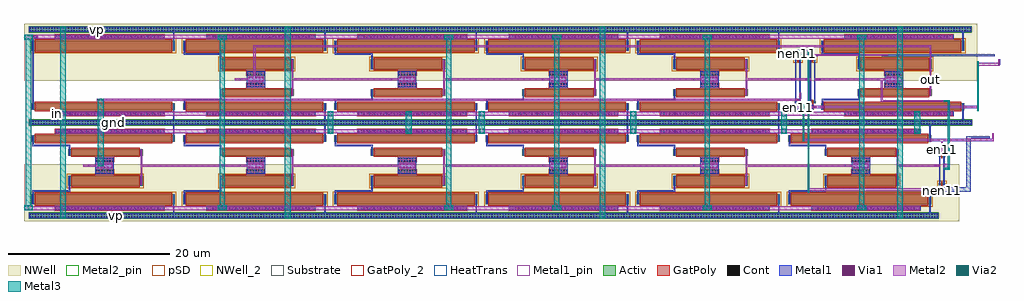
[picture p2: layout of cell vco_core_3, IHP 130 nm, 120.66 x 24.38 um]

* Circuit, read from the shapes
.subckt vco_core_3 en11 en5 gnd in nen11 nen5 out vp
XM1 gnd in n1 gnd sg13_lv_nmos w=0.8u l=17u
XM2 gnd in vco_delay_cell_3_0/pgt gnd sg13_lv_nmos w=0.8u l=17u
XM3 vco_delay_cell_3_4/in vco_delay_cell_3_5/in n1 gnd sg13_lv_nmos w=0.8u l=8.5u
XM4 gnd in n2 gnd sg13_lv_nmos w=0.8u l=17u
XM5 gnd in n3 gnd sg13_lv_nmos w=0.8u l=17u
XM6 vco_delay_cell_3_6/in vco_delay_cell_3_4/in n2 gnd sg13_lv_nmos w=0.8u l=8.5u
XM7 vco_delay_cell_3_1/in out n3 gnd sg13_lv_nmos w=0.8u l=8.5u
XM8 gnd in n4 gnd sg13_lv_nmos w=0.8u l=17u
XM9 gnd in n5 gnd sg13_lv_nmos w=0.8u l=17u
XM10 vco_delay_cell_3_7/in vco_delay_cell_3_6/in n4 gnd sg13_lv_nmos w=0.8u l=8.5u
XM11 vco_delay_cell_3_2/in vco_delay_cell_3_1/in n5 gnd sg13_lv_nmos w=0.8u l=8.5u
XM12 gnd in n6 gnd sg13_lv_nmos w=0.8u l=17u
XM13 gnd in n7 gnd sg13_lv_nmos w=0.8u l=17u
XM14 vco_delay_cell_3_8/in vco_delay_cell_3_7/in n6 gnd sg13_lv_nmos w=0.8u l=8.5u
XM15 vco_delay_cell_3_3/in vco_delay_cell_3_2/in n7 gnd sg13_lv_nmos w=0.8u l=8.5u
XM16 gnd in n8 gnd sg13_lv_nmos w=0.8u l=17u
XM17 gnd in n9 gnd sg13_lv_nmos w=0.8u l=17u
XM18 vco_delay_cell_3_9/in vco_delay_cell_3_8/in n8 gnd sg13_lv_nmos w=0.8u l=8.5u
XM19 vco_delay_cell_3_3/out vco_delay_cell_3_3/in n9 gnd sg13_lv_nmos w=0.8u l=8.5u
XM20 gnd in n10 gnd sg13_lv_nmos w=0.8u l=17u
XM21 vco_delay_cell_3_5/in en11 vco_delay_cell_3_3/out gnd sg13_lv_nmos w=0.3u l=0.15u
XM22 vco_delay_cell_3_40/in en5 vco_delay_cell_3_3/out gnd sg13_lv_nmos w=0.3u l=0.15u
XM23 gnd in n11 gnd sg13_lv_nmos w=0.8u l=17u
XM24 vco_delay_cell_3_9/out vco_delay_cell_3_9/in n10 gnd sg13_lv_nmos w=0.8u l=8.5u
XM25 out vco_delay_cell_3_40/in n11 gnd sg13_lv_nmos w=0.8u l=8.5u
XM26 vco_delay_cell_3_40/in en11 vco_delay_cell_3_9/out gnd sg13_lv_nmos w=0.3u l=0.15u
XM27 vp vco_delay_cell_3_0/pgt n12 vp sg13_lv_pmos w=1.2u l=17u
XM28 vp vco_delay_cell_3_0/pgt vco_delay_cell_3_0/pgt vp sg13_lv_pmos w=1.2u l=17u
XM29 vco_delay_cell_3_4/in vco_delay_cell_3_5/in n12 vp sg13_lv_pmos w=1.2u l=8.5u
XM30 vp vco_delay_cell_3_0/pgt n13 vp sg13_lv_pmos w=1.2u l=17u
XM31 vp vco_delay_cell_3_0/pgt n14 vp sg13_lv_pmos w=1.2u l=17u
XM32 vco_delay_cell_3_6/in vco_delay_cell_3_4/in n13 vp sg13_lv_pmos w=1.2u l=8.5u
XM33 vco_delay_cell_3_1/in out n14 vp sg13_lv_pmos w=1.2u l=8.5u
XM34 vp vco_delay_cell_3_0/pgt n15 vp sg13_lv_pmos w=1.2u l=17u
XM35 vp vco_delay_cell_3_0/pgt n16 vp sg13_lv_pmos w=1.2u l=17u
XM36 vco_delay_cell_3_7/in vco_delay_cell_3_6/in n15 vp sg13_lv_pmos w=1.2u l=8.5u
XM37 vco_delay_cell_3_2/in vco_delay_cell_3_1/in n16 vp sg13_lv_pmos w=1.2u l=8.5u
XM38 vp vco_delay_cell_3_0/pgt n17 vp sg13_lv_pmos w=1.2u l=17u
XM39 vp vco_delay_cell_3_0/pgt n18 vp sg13_lv_pmos w=1.2u l=17u
XM40 vco_delay_cell_3_8/in vco_delay_cell_3_7/in n17 vp sg13_lv_pmos w=1.2u l=8.5u
XM41 vco_delay_cell_3_3/in vco_delay_cell_3_2/in n18 vp sg13_lv_pmos w=1.2u l=8.5u
XM42 vp vco_delay_cell_3_0/pgt n19 vp sg13_lv_pmos w=1.2u l=17u
XM43 vp vco_delay_cell_3_0/pgt n20 vp sg13_lv_pmos w=1.2u l=17u
XM44 vco_delay_cell_3_9/in vco_delay_cell_3_8/in n19 vp sg13_lv_pmos w=1.2u l=8.5u
XM45 vco_delay_cell_3_3/out vco_delay_cell_3_3/in n20 vp sg13_lv_pmos w=1.2u l=8.5u
XM46 vp vco_delay_cell_3_0/pgt n21 vp sg13_lv_pmos w=1.2u l=17u
XM47 vco_delay_cell_3_5/in nen11 vco_delay_cell_3_3/out vp sg13_lv_pmos w=0.3u l=0.15u
XM48 vco_delay_cell_3_40/in nen5 vco_delay_cell_3_3/out vp sg13_lv_pmos w=0.3u l=0.15u
XM49 vp vco_delay_cell_3_0/pgt n22 vp sg13_lv_pmos w=1.2u l=17u
XM50 vco_delay_cell_3_9/out vco_delay_cell_3_9/in n21 vp sg13_lv_pmos w=1.2u l=8.5u
XM51 out vco_delay_cell_3_40/in n22 vp sg13_lv_pmos w=1.2u l=8.5u
XM52 vco_delay_cell_3_40/in nen11 vco_delay_cell_3_9/out vp sg13_lv_pmos w=0.3u l=0.15u
.ends

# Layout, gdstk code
from math import pi, radians
import gdstk
lib = gdstk.Library(unit=1e-6, precision=1e-09)
def R(c, l, rs):  # rectangles x0, y0, x1, y1
    for r in rs: c.add(gdstk.rectangle(r[:2], r[2:], *l))
def A(c, l, x, y, w, h, nx, ny, dx, dy):  # array of equal rectangles
    R(c, l, [(x+i*dx, y+j*dy, x+i*dx+w, y+j*dy+h) for i in range(nx) for j in range(ny)])
Activ = (1, 0)
GatPoly = (5, 0)
GatPoly_2 = (5, 2)
Cont = (6, 0)
Metal1 = (8, 0)
Metal1_pin = (8, 2)
Metal2 = (10, 0)
Metal2_pin = (10, 2)
pSD = (14, 0)
Via1 = (19, 0)
Via2 = (29, 0)
Metal3 = (30, 0)
NWell = (31, 0)
NWell_2 = (31, 2)
Substrate = (40, 0)
HeatTrans = (51, 0)

nmos_6_3 = lib.new_cell('nmos$6$3')
R(nmos_6_3, Activ, [(0,0,0.3,0.3), (0,0,17.68,0.8), (17.38,0,17.68,0.3)])
R(nmos_6_3, GatPoly, [(0.34,-0.18,17.34,0.98)])
R(nmos_6_3, GatPoly_2, [(0.34,-0.18,17.34,0.98)])
R(nmos_6_3, Cont, [(0.07,0.07,0.23,0.23), (17.45,0.07,17.61,0.23), (0.07,0.57,0.23,0.73), (17.45,0.57,17.61,0.73)])
R(nmos_6_3, Metal1, [(0.07,0,0.23,0.8), (17.45,0,17.61,0.8)])
R(nmos_6_3, Metal1_pin, [(0.07,0,0.23,0.8), (17.45,0,17.61,0.8)])
R(nmos_6_3, HeatTrans, [(0.34,-0.18,17.34,0.98)])
nmos_6_3.add(gdstk.Label('nmos', (8.84,0.4), layer=63, texttype=0))
nmos_6_3.add(gdstk.Label('nmos', (8.84,0.4), layer=51, texttype=0))

via_7_9 = lib.new_cell('Via$7$9')
R(via_7_9, Metal1, [(-0.555,-0.105,0.555,0.105)])
R(via_7_9, Metal2, [(-0.555,-0.1,0.555,0.1)])
A(via_7_9, Via1, -0.505, -0.095, 0.19, 0.19, 3, 1, 0.41, 0)

via_71 = lib.new_cell('Via$71')
R(via_71, GatPoly, [(-6.78,-0.32,6.78,0.32)])
A(via_71, Cont, -6.71, -0.25, 0.16, 0.16, 40, 2, 0.34, 0.34)
R(via_71, Metal1, [(-6.76,-0.25,6.76,0.25)])

pmos_6_5 = lib.new_cell('pmos$6$5')
R(pmos_6_5, Activ, [(0,0,0.3,0.3), (0,0,9.18,1.2), (8.88,0,9.18,0.3)])
R(pmos_6_5, GatPoly, [(0.34,-0.18,8.84,1.38), (0.34,-0.18,8.84,1.38)])
A(pmos_6_5, Cont, 0.07, 0.07, 0.16, 0.16, 1, 3, 0, 0.45)
A(pmos_6_5, Cont, 8.95, 0.07, 0.16, 0.16, 1, 3, 0, 0.45)
R(pmos_6_5, Metal1, [(0.07,0,0.23,1.2), (0.07,0,0.23,1.2), (8.95,0,9.11,1.2), (8.95,0,9.11,1.2)])
R(pmos_6_5, pSD, [(-0.18,-0.3,9.36,1.5)])
R(pmos_6_5, NWell, [(-0.31,-0.31,9.49,1.51)])
R(pmos_6_5, HeatTrans, [(0.34,-0.18,8.84,1.38)])
pmos_6_5.add(gdstk.Label('pmos', (4.59,0.6), layer=63, texttype=0))
pmos_6_5.add(gdstk.Label('pmos', (4.59,0.6), layer=51, texttype=0))

via_16 = lib.new_cell('Via$16')
R(via_16, Metal1, [(-6.09,-0.105,6.09,0.105)])
R(via_16, Metal2, [(-6.09,-0.1,6.09,0.1)])
A(via_16, Via1, -6.04, -0.095, 0.19, 0.19, 30, 1, 0.41, 0)

via_12_11 = lib.new_cell('Via$12$11')
R(via_12_11, GatPoly, [(-1.17,-0.32,1.17,0.32)])
A(via_12_11, Cont, -1.1, -0.25, 0.16, 0.16, 7, 2, 0.34, 0.34)
R(via_12_11, Metal1, [(-1.15,-0.25,1.15,0.25)])

nmos_19 = lib.new_cell('nmos$19')
R(nmos_19, Activ, [(0,0,0.3,0.3), (0,0,9.18,0.8), (8.88,0,9.18,0.3)])
R(nmos_19, GatPoly, [(0.34,-0.18,8.84,0.98)])
R(nmos_19, GatPoly_2, [(0.34,-0.18,8.84,0.98)])
R(nmos_19, Cont, [(0.07,0.07,0.23,0.23), (8.95,0.07,9.11,0.23), (0.07,0.57,0.23,0.73), (8.95,0.57,9.11,0.73)])
R(nmos_19, Metal1, [(0.07,0,0.23,0.8), (8.95,0,9.11,0.8)])
R(nmos_19, Metal1_pin, [(0.07,0,0.23,0.8), (8.95,0,9.11,0.8)])
R(nmos_19, HeatTrans, [(0.34,-0.18,8.84,0.98)])
nmos_19.add(gdstk.Label('nmos', (4.59,0.4), layer=63, texttype=0))
nmos_19.add(gdstk.Label('nmos', (4.59,0.4), layer=51, texttype=0))

via_8_4 = lib.new_cell('Via$8$4')
R(via_8_4, Metal1, [(-0.965,-0.31,0.965,0.31)])
R(via_8_4, Metal2, [(-0.965,-0.305,0.965,0.305)])
A(via_8_4, Via1, -0.915, -0.3, 0.19, 0.19, 5, 2, 0.41, 0.41)

pmos_22 = lib.new_cell('pmos$22')
R(pmos_22, Activ, [(0,0,0.3,0.3), (0,0,17.68,1.2), (17.38,0,17.68,0.3)])
R(pmos_22, GatPoly, [(0.34,-0.18,17.34,1.38), (0.34,-0.18,17.34,1.38)])
A(pmos_22, Cont, 0.07, 0.07, 0.16, 0.16, 1, 3, 0, 0.45)
A(pmos_22, Cont, 17.45, 0.07, 0.16, 0.16, 1, 3, 0, 0.45)
R(pmos_22, Metal1, [(0.07,0,0.23,1.2), (0.07,0,0.23,1.2), (17.45,0,17.61,1.2), (17.45,0,17.61,1.2)])
R(pmos_22, pSD, [(-0.18,-0.3,17.86,1.5)])
R(pmos_22, NWell, [(-0.31,-0.31,17.99,1.51)])
R(pmos_22, HeatTrans, [(0.34,-0.18,17.34,1.38)])
pmos_22.add(gdstk.Label('pmos', (8.84,0.6), layer=63, texttype=0))
pmos_22.add(gdstk.Label('pmos', (8.84,0.6), layer=51, texttype=0))

via_11_5 = lib.new_cell('Via$11$5')
R(via_11_5, Metal1, [(-0.35,-0.105,0.35,0.105)])
R(via_11_5, Metal2, [(-0.35,-0.1,0.35,0.1)])
R(via_11_5, Via1, [(-0.3,-0.095,-0.11,0.095), (0.11,-0.095,0.3,0.095)])

ptap1_11 = lib.new_cell('ptap1$11')
R(ptap1_11, Activ, [(0,0,19,0.78)])
A(ptap1_11, Cont, 0.07, 0.14, 0.16, 0.16, 56, 2, 0.34, 0.34)
R(ptap1_11, Metal1, [(0.07,0.09,18.93,0.69), (0.07,0.14,18.93,0.64)])
R(ptap1_11, Metal1_pin, [(0.07,0.14,18.93,0.64)])
R(ptap1_11, pSD, [(-0.03,-0.03,19.03,0.81)])
R(ptap1_11, Substrate, [(0,0,19,0.78)])
ptap1_11.add(gdstk.Label('sub!', (9.5,0.01), layer=63, texttype=0))
ptap1_11.add(gdstk.Label('sub!', (9.5,0.01), layer=40, texttype=0))

ntap1_4 = lib.new_cell('ntap1$4')
R(ntap1_4, Activ, [(0,0,19,0.78)])
A(ntap1_4, Cont, 0.07, 0.14, 0.16, 0.16, 56, 2, 0.34, 0.34)
R(ntap1_4, Metal1, [(0.07,0.09,18.93,0.69)])
R(ntap1_4, Metal1_pin, [(0.07,0.09,18.93,0.69), (0.07,0.14,18.93,0.64)])
R(ntap1_4, NWell, [(-0.24,-0.24,19.24,1.02), (0,0,19,0.78)])
R(ntap1_4, NWell_2, [(0,0,19,0.78)])
ntap1_4.add(gdstk.Label('well', (9.5,0.01), layer=63, texttype=0))
ntap1_4.add(gdstk.Label('well', (9.5,0.01), layer=31, texttype=0))

vco_delay_cell_3 = lib.new_cell('vco_delay_cell_3')
R(vco_delay_cell_3, Metal1, [(9.705,-5.195,9.865,-3.48), (-3.46,-4.32,-3.34,-3.82), (-3.34,-4.32,-3,-3.82), (-7.675,-2.77,-7.515,-2.22), (-7.675,-2.425,-3.015,-2.22), (-3.175,-2.35,-3.015,-1.64), (0.1,-0.82,2.4,1.21), (-3.175,2.615,-3.015,3.325), (-7.675,3.195,-7.515,3.745), (-7.675,3.195,-3.015,3.4), (9.705,4.455,9.865,6.17)])
R(vco_delay_cell_3, Metal1_pin, [(0.705,-5.08,0.835,-4.95), (0.335,6.315,0.465,6.445)])
R(vco_delay_cell_3, Metal2, [(-4.88,-4.32,-3.99,-3.82), (-4,-4.32,8.54,-3.82), (5.685,-1.76,5.885,0.57), (5.685,-0.16,5.885,1.48), (-1.38,0.07,0.95,0.32), (-4.88,5.19,-3.99,5.69), (-4,5.19,8.54,5.69)])
R(vco_delay_cell_3, Metal2_pin, [(-4.79,-4.18,-4.66,-4.05), (5.73,0.13,5.86,0.26), (-0.775,0.135,-0.645,0.265), (-3.945,5.41,-3.815,5.54)])
R(vco_delay_cell_3, NWell, [(-8.68,-0.005,11.555,7.04), (-1.56,0.29,2.98,5.31)])
vco_delay_cell_3.add(gdstk.Reference(nmos_6_3, (-7.745,-3.57)))
vco_delay_cell_3.add(gdstk.Reference(via_7_9, (5.785,2.01), rotation=pi/2))
vco_delay_cell_3.add(gdstk.Reference(via_71, (1.88,-4.07)))
vco_delay_cell_3.add(gdstk.Reference(pmos_6_5, (-3.245,1.46)))
vco_delay_cell_3.add(gdstk.Reference(via_16, (1.88,-4.065)))
vco_delay_cell_3.add(gdstk.Reference(via_12_11, (1.25,0.96)))
vco_delay_cell_3.add(gdstk.Reference(nmos_19, (-3.245,-1.87)))
vco_delay_cell_3.add(gdstk.Reference(via_12_11, (1.25,-0.57)))
vco_delay_cell_3.add(gdstk.Reference(via_8_4, (1.26,0.2)))
vco_delay_cell_3.add(gdstk.Reference(pmos_22, (-7.745,3.74)))
vco_delay_cell_3.add(gdstk.Reference(via_11_5, (5.785,-1.42), rotation=pi/2))
vco_delay_cell_3.add(gdstk.Reference(ptap1_11, (-8.09,-5.54)))
vco_delay_cell_3.add(gdstk.Reference(via_71, (1.88,5.44)))
vco_delay_cell_3.add(gdstk.Reference(ntap1_4, (-8.13,5.97)))
vco_delay_cell_3.add(gdstk.Reference(via_16, (1.88,5.445)))
vco_delay_cell_3.add(gdstk.Label('out', (5.795,0.18), layer=10, texttype=25))
vco_delay_cell_3.add(gdstk.Label('ngt', (-4.72,-4.11), layer=10, texttype=25))
vco_delay_cell_3.add(gdstk.Label('pgt', (-3.88,5.48), layer=10, texttype=25))
vco_delay_cell_3.add(gdstk.Label('in', (-0.71,0.2), layer=10, texttype=25))
vco_delay_cell_3.add(gdstk.Label('gnd', (0.77,-5.01), layer=8, texttype=25))
vco_delay_cell_3.add(gdstk.Label('vp', (0.4,6.38), layer=8, texttype=25))

via_17 = lib.new_cell('Via$17')
R(via_17, Metal1, [(-6.09,-0.105,6.09,0.105)])
R(via_17, Metal2, [(-6.09,-0.1,6.09,0.1)])
A(via_17, Via1, -6.04, -0.095, 0.19, 0.19, 30, 1, 0.41, 0)

ntap1_1 = lib.new_cell('ntap1$1')
R(ntap1_1, Activ, [(0,0,19,0.78)])
A(ntap1_1, Cont, 0.07, 0.14, 0.16, 0.16, 56, 2, 0.34, 0.34)
R(ntap1_1, Metal1, [(0.07,0.09,18.93,0.69)])
R(ntap1_1, Metal1_pin, [(0.07,0.09,18.93,0.69), (0.07,0.14,18.93,0.64)])
R(ntap1_1, NWell, [(-0.24,-0.24,19.24,1.02), (0,0,19,0.78)])
R(ntap1_1, NWell_2, [(0,0,19,0.78)])
ntap1_1.add(gdstk.Label('well', (9.5,0.01), layer=63, texttype=0))
ntap1_1.add(gdstk.Label('well', (9.5,0.01), layer=31, texttype=0))

via_18 = lib.new_cell('Via$18')
R(via_18, GatPoly, [(-6.78,-0.32,6.78,0.32)])
A(via_18, Cont, -6.71, -0.25, 0.16, 0.16, 40, 2, 0.34, 0.34)
R(via_18, Metal1, [(-6.76,-0.25,6.76,0.25)])

ptap1_1 = lib.new_cell('ptap1$1')
R(ptap1_1, Activ, [(0,0,19,0.78)])
A(ptap1_1, Cont, 0.07, 0.14, 0.16, 0.16, 56, 2, 0.34, 0.34)
R(ptap1_1, Metal1, [(0.07,0.09,18.93,0.69), (0.07,0.14,18.93,0.64)])
R(ptap1_1, Metal1_pin, [(0.07,0.14,18.93,0.64)])
R(ptap1_1, pSD, [(-0.03,-0.03,19.03,0.81)])
R(ptap1_1, Substrate, [(0,0,19,0.78)])
ptap1_1.add(gdstk.Label('sub!', (9.5,0.01), layer=63, texttype=0))
ptap1_1.add(gdstk.Label('sub!', (9.5,0.01), layer=40, texttype=0))

via_20 = lib.new_cell('Via$20')
R(via_20, Metal1, [(-0.35,-0.105,0.35,0.105)])
R(via_20, Metal2, [(-0.35,-0.1,0.35,0.1)])
R(via_20, Via1, [(-0.3,-0.095,-0.11,0.095), (0.11,-0.095,0.3,0.095)])

pmos_1 = lib.new_cell('pmos$1')
R(pmos_1, Activ, [(0,0,0.3,0.3), (0,0,17.68,1.2), (17.38,0,17.68,0.3)])
R(pmos_1, GatPoly, [(0.34,-0.18,17.34,1.38), (0.34,-0.18,17.34,1.38)])
A(pmos_1, Cont, 0.07, 0.07, 0.16, 0.16, 1, 3, 0, 0.45)
A(pmos_1, Cont, 17.45, 0.07, 0.16, 0.16, 1, 3, 0, 0.45)
R(pmos_1, Metal1, [(0.07,0,0.23,1.2), (0.07,0,0.23,1.2), (17.45,0,17.61,1.2), (17.45,0,17.61,1.2)])
R(pmos_1, pSD, [(-0.18,-0.3,17.86,1.5)])
R(pmos_1, NWell, [(-0.31,-0.31,17.99,1.51)])
R(pmos_1, HeatTrans, [(0.34,-0.18,17.34,1.38)])
pmos_1.add(gdstk.Label('pmos', (8.84,0.6), layer=63, texttype=0))
pmos_1.add(gdstk.Label('pmos', (8.84,0.6), layer=51, texttype=0))

via_21 = lib.new_cell('Via$21')
R(via_21, Metal2, [(-0.555,-0.305,0.555,0.305)])
A(via_21, Via2, -0.505, -0.3, 0.19, 0.19, 3, 2, 0.41, 0.41)
R(via_21, Metal3, [(-0.555,-0.305,0.555,0.305)])

via_22 = lib.new_cell('Via$22')
R(via_22, Metal2, [(-0.35,-0.1,0.35,0.1)])
R(via_22, Via2, [(-0.3,-0.095,-0.11,0.095), (0.11,-0.095,0.3,0.095)])
R(via_22, Metal3, [(-0.35,-0.1,0.35,0.1)])

via_23 = lib.new_cell('Via$23')
R(via_23, GatPoly, [(-0.15,-0.32,0.15,0.32)])
R(via_23, Cont, [(-0.08,-0.25,0.08,-0.09), (-0.08,0.09,0.08,0.25)])
R(via_23, Metal1, [(-0.08,-0.3,0.08,0.3)])

nmos_2_7 = lib.new_cell('nmos$2$7')
R(nmos_2_7, Activ, [(0,0,0.3,0.3), (0,0,17.68,0.8), (17.38,0,17.68,0.3)])
R(nmos_2_7, GatPoly, [(0.34,-0.18,17.34,0.98)])
R(nmos_2_7, GatPoly_2, [(0.34,-0.18,17.34,0.98)])
R(nmos_2_7, Cont, [(0.07,0.07,0.23,0.23), (17.45,0.07,17.61,0.23), (0.07,0.57,0.23,0.73), (17.45,0.57,17.61,0.73)])
R(nmos_2_7, Metal1, [(0.07,0,0.23,0.8), (17.45,0,17.61,0.8)])
R(nmos_2_7, Metal1_pin, [(0.07,0,0.23,0.8), (17.45,0,17.61,0.8)])
R(nmos_2_7, HeatTrans, [(0.34,-0.18,17.34,0.98)])
nmos_2_7.add(gdstk.Label('nmos', (8.84,0.4), layer=63, texttype=0))
nmos_2_7.add(gdstk.Label('nmos', (8.84,0.4), layer=51, texttype=0))

pmos_3 = lib.new_cell('pmos$3')
R(pmos_3, Activ, [(0,0,0.3,0.3), (0,0,0.83,0.3), (0.53,0,0.83,0.3)])
R(pmos_3, GatPoly, [(0.34,-0.18,0.49,0.48), (0.34,-0.18,0.49,0.48)])
R(pmos_3, Cont, [(0.07,0.07,0.23,0.23), (0.6,0.07,0.76,0.23)])
R(pmos_3, Metal1, [(0.07,0,0.23,0.3), (0.07,0,0.23,0.3), (0.6,0,0.76,0.3), (0.6,0,0.76,0.3)])
R(pmos_3, pSD, [(-0.18,-0.3,1.01,0.6)])
R(pmos_3, NWell, [(-0.31,-0.31,1.14,0.61)])
R(pmos_3, HeatTrans, [(0.34,-0.18,0.49,0.48)])
pmos_3.add(gdstk.Label('pmos', (0.415,0.15), layer=63, texttype=0))
pmos_3.add(gdstk.Label('pmos', (0.415,0.15), layer=51, texttype=0))

nmos_4_2 = lib.new_cell('nmos$4$2')
R(nmos_4_2, Activ, [(0,0,0.3,0.3), (0,0,0.83,0.3), (0.53,0,0.83,0.3)])
R(nmos_4_2, GatPoly, [(0.34,-0.18,0.49,0.48)])
R(nmos_4_2, GatPoly_2, [(0.34,-0.18,0.49,0.48)])
R(nmos_4_2, Cont, [(0.07,0.07,0.23,0.23), (0.6,0.07,0.76,0.23)])
R(nmos_4_2, Metal1, [(0.07,0,0.23,0.3), (0.6,0,0.76,0.3)])
R(nmos_4_2, Metal1_pin, [(0.07,0,0.23,0.3), (0.6,0,0.76,0.3)])
R(nmos_4_2, HeatTrans, [(0.34,-0.18,0.49,0.48)])
nmos_4_2.add(gdstk.Label('nmos', (0.415,0.15), layer=63, texttype=0))
nmos_4_2.add(gdstk.Label('nmos', (0.415,0.15), layer=51, texttype=0))

ntap1_2_3 = lib.new_cell('ntap1$2$3')
R(ntap1_2_3, Activ, [(0,0,10,0.78)])
A(ntap1_2_3, Cont, 0.16, 0.14, 0.16, 0.16, 29, 2, 0.34, 0.34)
R(ntap1_2_3, Metal1, [(0.16,0.09,9.84,0.69)])
R(ntap1_2_3, Metal1_pin, [(0.16,0.09,9.84,0.69), (0.16,0.14,9.84,0.64)])
R(ntap1_2_3, NWell, [(-0.24,-0.24,10.24,1.02), (0,0,10,0.78)])
R(ntap1_2_3, NWell_2, [(0,0,10,0.78)])
ntap1_2_3.add(gdstk.Label('well', (5,0.01), layer=63, texttype=0))
ntap1_2_3.add(gdstk.Label('well', (5,0.01), layer=31, texttype=0))

via_24 = lib.new_cell('Via$24')
R(via_24, Metal2, [(-0.35,-0.305,0.35,0.305)])
R(via_24, Via2, [(-0.3,-0.3,-0.11,-0.11), (0.11,-0.3,0.3,-0.11), (-0.3,0.11,-0.11,0.3), (0.11,0.11,0.3,0.3)])
R(via_24, Metal3, [(-0.35,-0.305,0.35,0.305)])

via_25_1 = lib.new_cell('Via$25$1')
R(via_25_1, Metal1, [(-0.35,-0.31,0.35,0.31)])
R(via_25_1, Metal2, [(-0.35,-0.305,0.35,0.305)])
R(via_25_1, Via1, [(-0.3,-0.3,-0.11,-0.11), (0.11,-0.3,0.3,-0.11), (-0.3,0.11,-0.11,0.3), (0.11,0.11,0.3,0.3)])

vco_core_3 = lib.new_cell('vco_core_3')
R(vco_core_3, Metal1, [(86.07,-13.71,89.61,-13.165), (89.085,-13.385,89.61,-6.865), (85.71,-12.78,85.87,-9.24), (86.24,-12.78,86.4,-9.24), (89.425,-7.115,91.965,-6.865), (-8.995,-5.195,-8.835,-3.48), (-22.16,-4.32,-22.04,-3.82), (-22.04,-4.32,-21.7,-3.82), (-26.375,-3.17,-26.215,3.745), (-26.375,-2.77,-26.215,-2.22), (68.44,-2.745,68.6,2.625), (67.91,-2.74,68.07,2.625), (69.725,-2.725,69.885,2.625), (70.255,-2.725,70.415,2.625), (78.885,3.07,92.615,3.28), (68.13,3.155,69.445,3.855), (-8.995,4.455,-8.835,6.17), (-26.375,4.885,-26.215,5.535)])
R(vco_core_3, Metal1_pin, [(-16.09,-16.725,-15.96,-16.595), (86.005,-13.595,86.135,-13.465), (86.005,-8.535,86.135,-8.405), (-16.455,-5.19,-16.325,-5.06), (68.215,-3.315,68.345,-3.185), (70.035,-3.285,70.165,-3.155), (68.2,3.26,68.33,3.39), (70.025,3.32,70.155,3.45), (-16.985,6.3,-16.855,6.43), (-18.365,6.315,-18.235,6.445)])
R(vco_core_3, Metal2, [(-26.4,-15.99,-23.345,-15.49), (-10.685,-15.99,82.475,-15.49), (69.645,-13.62,81.955,-13.27), (81.955,-13.62,86.01,-13.27), (86.3,-10.77,87,-10.26), (-12.93,-10.62,-1.26,-10.37), (5.825,-10.62,17.495,-10.37), (24.49,-10.62,36.16,-10.37), (43.16,-10.62,54.83,-10.37), (61.895,-10.62,73.565,-10.37), (80.47,-10.62,85.87,-10.37), (85.97,-8.93,86.17,-7.44), (86.02,-7.445,92.465,-7.13), (68.95,-7.44,86.02,-7.13), (-18.285,-6.48,83.34,-5.98), (-23.58,-4.32,-22.69,-3.82), (-22.7,-4.32,-10.16,-3.82), (-22.605,-4.32,83.015,-3.82), (70.065,-3.38,90.53,-3.09), (68.325,-3.34,68.93,-3.13), (78.485,-2.575,78.735,0.23), (78.565,-2.575,86.65,-2.375), (-18.4,-2.455,68.635,-2.185), (5.74,0.07,17.41,0.32), (24.51,0.07,36.22,0.32), (43.135,0.07,54.845,0.32), (61.88,0.07,69.89,0.32), (70.355,0.07,78.84,0.32), (0.945,0.09,1.22,4.375), (90.53,1.87,93.235,2.22), (84.565,2.46,84.765,4.375), (70.47,3.075,78.69,3.275), (68.855,3.155,69.45,3.855), (0.995,4.15,84.765,4.375), (-26.41,5.19,-23.48,5.69), (-23.58,5.19,-22.69,5.69), (-22.7,5.19,-10.16,5.69), (-12.01,5.19,77.59,5.69)])
R(vco_core_3, Metal2_pin, [(-23.405,-4.125,-23.275,-3.995), (84.62,0.09,84.75,0.22)])
R(vco_core_3, Metal3, [(-22.965,-16.715,-22.265,6.345), (4.835,-16.715,5.535,6.345), (43.73,-16.715,44.43,6.345), (80.51,-16.715,81.21,6.345), (-27.18,-15.875,-26.55,5.535), (-3.23,-15.875,-2.6,5.535), (24.77,-15.875,25.4,5.535), (38.145,-15.875,38.775,5.535), (56.71,-15.875,57.34,5.535), (75.825,-15.875,76.455,5.535), (69.45,-13.85,69.65,3.69), (86.76,-10.87,87,-2.43), (-18.28,-10.585,-17.58,-2.33), (68.85,-6.885,69.05,-3.34), (10.12,-6.315,10.82,-4.005), (19.79,-6.315,20.49,-4.005), (28.825,-6.315,29.525,-4.005), (47.545,-6.315,48.245,-4.005), (66.175,-6.315,66.875,-4.005), (82.665,-6.315,83.365,-4.005), (90.43,-3.36,90.63,2.075)])
R(vco_core_3, NWell, [(86.355,-17.34,88.215,-10.295), (-27.38,-0.005,-7.145,7.04), (67.185,-0.005,70.2,7.04), (-20.26,0.29,-15.72,5.31)])
vco_core_3.add(gdstk.Reference(vco_delay_cell_3, (0,0)))
vco_core_3.add(gdstk.Reference(vco_delay_cell_3, (18.7,0)))
vco_core_3.add(gdstk.Reference(vco_delay_cell_3, (37.4,0)))
vco_core_3.add(gdstk.Reference(vco_delay_cell_3, (56.1,0)))
vco_core_3.add(gdstk.Reference(vco_delay_cell_3, (0,-10.3), x_reflection=True))
vco_core_3.add(gdstk.Reference(vco_delay_cell_3, (-18.7,-10.3), x_reflection=True))
vco_core_3.add(gdstk.Reference(vco_delay_cell_3, (18.7,-10.3), x_reflection=True))
vco_core_3.add(gdstk.Reference(vco_delay_cell_3, (37.4,-10.3), x_reflection=True))
vco_core_3.add(gdstk.Reference(vco_delay_cell_3, (56.1,-10.3), x_reflection=True))
vco_core_3.add(gdstk.Reference(vco_delay_cell_3, (74.8,-10.3), x_reflection=True))
vco_core_3.add(gdstk.Reference(via_17, (-16.82,5.445)))
vco_core_3.add(gdstk.Reference(ntap1_1, (-26.83,5.97)))
vco_core_3.add(gdstk.Reference(via_18, (-16.82,5.44)))
vco_core_3.add(gdstk.Reference(ptap1_1, (-26.79,-5.54)))
vco_core_3.add(gdstk.Reference(via_20, (-26.04,5.455)))
vco_core_3.add(gdstk.Reference(pmos_1, (-26.445,3.74)))
vco_core_3.add(gdstk.Reference(via_21, (-26.865,-15.685)))
vco_core_3.add(gdstk.Reference(via_21, (-26.865,5.385)))
vco_core_3.add(gdstk.Reference(via_22, (86.65,-10.87)))
vco_core_3.add(gdstk.Reference(via_23, (86.07,-13.41), x_reflection=True))
vco_core_3.add(gdstk.Reference(via_17, (-16.82,-4.065)))
vco_core_3.add(gdstk.Reference(via_23, (86.07,-8.61), x_reflection=True))
vco_core_3.add(gdstk.Reference(via_18, (-16.82,-4.07)))
vco_core_3.add(gdstk.Reference(via_20, (85.52,-10.5), x_reflection=True))
vco_core_3.add(gdstk.Reference(nmos_2_7, (-26.445,-3.57)))
vco_core_3.add(gdstk.Reference(via_20, (86.65,-10.87), x_reflection=True))
vco_core_3.add(gdstk.Reference(pmos_3, (85.64,-12.63), x_reflection=True))
vco_core_3.add(gdstk.Reference(nmos_4_2, (85.64,-9.09), x_reflection=True))
vco_core_3.add(gdstk.Reference(nmos_4_2, (67.84,-2.815)))
vco_core_3.add(gdstk.Reference(pmos_3, (67.84,2.555)))
vco_core_3.add(gdstk.Reference(nmos_4_2, (69.655,-2.795)))
vco_core_3.add(gdstk.Reference(via_20, (67.715,0.205)))
vco_core_3.add(gdstk.Reference(via_20, (69.535,0.205)))
vco_core_3.add(gdstk.Reference(via_23, (68.26,-3.305)))
vco_core_3.add(gdstk.Reference(via_23, (70.07,-3.27)))
vco_core_3.add(gdstk.Reference(via_23, (68.26,3.33)))
vco_core_3.add(gdstk.Reference(via_23, (70.085,3.35)))
vco_core_3.add(gdstk.Reference(via_20, (68.535,-1.835), rotation=pi/2))
vco_core_3.add(gdstk.Reference(pmos_3, (69.655,2.555)))
vco_core_3.add(gdstk.Reference(via_20, (70.705,0.225)))
vco_core_3.add(gdstk.Reference(vco_delay_cell_3, (78.88,0)))
vco_core_3.add(gdstk.Reference(ntap1_2_3, (66.58,5.97)))
vco_core_3.add(gdstk.Reference(via_22, (86.65,-2.475)))
vco_core_3.add(gdstk.Reference(via_24, (10.47,-6.205)))
vco_core_3.add(gdstk.Reference(via_24, (10.47,-4.085)))
vco_core_3.add(gdstk.Reference(via_24, (20.14,-6.205)))
vco_core_3.add(gdstk.Reference(via_24, (20.14,-4.085)))
vco_core_3.add(gdstk.Reference(via_24, (29.175,-6.205)))
vco_core_3.add(gdstk.Reference(via_24, (29.175,-4.085)))
vco_core_3.add(gdstk.Reference(via_24, (47.895,-4.085)))
vco_core_3.add(gdstk.Reference(via_24, (47.895,-6.205)))
vco_core_3.add(gdstk.Reference(via_24, (66.525,-4.085)))
vco_core_3.add(gdstk.Reference(via_24, (66.525,-6.205)))
vco_core_3.add(gdstk.Reference(via_24, (83.015,-4.085)))
vco_core_3.add(gdstk.Reference(via_24, (83.015,-6.205)))
vco_core_3.add(gdstk.Reference(via_22, (-17.93,-2.33)))
vco_core_3.add(gdstk.Reference(via_22, (-17.93,-10.485)))
vco_core_3.add(gdstk.Reference(via_21, (-2.915,5.385)))
vco_core_3.add(gdstk.Reference(via_21, (-2.915,-15.685)))
vco_core_3.add(gdstk.Reference(via_21, (25.085,-15.685)))
vco_core_3.add(gdstk.Reference(via_21, (38.46,5.385)))
vco_core_3.add(gdstk.Reference(via_21, (38.46,-15.685)))
vco_core_3.add(gdstk.Reference(via_21, (57.025,5.385)))
vco_core_3.add(gdstk.Reference(via_21, (57.025,-15.685)))
vco_core_3.add(gdstk.Reference(via_21, (76.14,5.385)))
vco_core_3.add(gdstk.Reference(via_21, (76.14,-15.685)))
vco_core_3.add(gdstk.Reference(via_25_1, (5.185,-16.67)))
vco_core_3.add(gdstk.Reference(via_25_1, (-22.615,-16.67)))
vco_core_3.add(gdstk.Reference(via_24, (-22.615,-16.67)))
vco_core_3.add(gdstk.Reference(via_24, (-22.615,6.37)))
vco_core_3.add(gdstk.Reference(via_25_1, (-22.615,6.37)))
vco_core_3.add(gdstk.Reference(via_24, (5.185,-16.67)))
vco_core_3.add(gdstk.Reference(via_24, (5.185,6.37)))
vco_core_3.add(gdstk.Reference(via_25_1, (5.185,6.37)))
vco_core_3.add(gdstk.Reference(via_25_1, (80.86,-16.67)))
vco_core_3.add(gdstk.Reference(via_24, (80.86,-16.67)))
vco_core_3.add(gdstk.Reference(via_24, (80.86,6.37)))
vco_core_3.add(gdstk.Reference(via_25_1, (80.86,6.37)))
vco_core_3.add(gdstk.Reference(via_25_1, (44.08,-16.67)))
vco_core_3.add(gdstk.Reference(via_24, (44.08,-16.67)))
vco_core_3.add(gdstk.Reference(via_24, (44.08,6.37)))
vco_core_3.add(gdstk.Reference(via_25_1, (44.08,6.37)))
vco_core_3.add(gdstk.Reference(via_22, (69.545,-13.515), rotation=pi/2))
vco_core_3.add(gdstk.Reference(via_20, (86.07,-8.57), rotation=pi/2))
vco_core_3.add(gdstk.Reference(via_20, (78.99,3.175), rotation=pi))
vco_core_3.add(gdstk.Reference(via_20, (70.36,3.175), rotation=pi))
vco_core_3.add(gdstk.Reference(via_20, (92.37,-6.83), rotation=pi/2))
vco_core_3.add(gdstk.Reference(via_22, (90.53,-3.395), rotation=pi/2))
vco_core_3.add(gdstk.Reference(via_22, (90.53,2.075), rotation=pi/2))
vco_core_3.add(gdstk.Reference(via_20, (69.55,3.505), rotation=pi/2))
vco_core_3.add(gdstk.Reference(via_22, (69.55,3.505), rotation=pi/2))
vco_core_3.add(gdstk.Reference(via_20, (68.16,-3.23), rotation=pi))
vco_core_3.add(gdstk.Reference(via_22, (68.95,-3.25), rotation=pi/2))
vco_core_3.add(gdstk.Reference(via_22, (68.95,-7.09), rotation=pi/2))
vco_core_3.add(gdstk.Reference(via_20, (86.07,-13.485), rotation=pi/2))
vco_core_3.add(gdstk.Reference(via_20, (70.145,-3.24), rotation=pi))
vco_core_3.add(gdstk.Reference(via_20, (93.135,2.34), rotation=pi/2))
vco_core_3.add(gdstk.Reference(via_21, (25.085,5.385)))
vco_core_3.add(gdstk.Label('in', (-23.34,-4.06), layer=10, texttype=25))
vco_core_3.add(gdstk.Label('out', (84.685,0.155), layer=10, texttype=25))
vco_core_3.add(gdstk.Label('en11', (86.07,-8.47), layer=8, texttype=25))
vco_core_3.add(gdstk.Label('nen11', (68.26,3.33), layer=8, texttype=25))
vco_core_3.add(gdstk.Label('nen5', (70.085,3.39), layer=8, texttype=25))
vco_core_3.add(gdstk.Label('gnd', (-16.39,-5.125), layer=8, texttype=25))
vco_core_3.add(gdstk.Label('vp', (-18.3,6.38), layer=8, texttype=25))
vco_core_3.add(gdstk.Label('nen11', (86.07,-13.53), layer=8, texttype=25))
vco_core_3.add(gdstk.Label('en11', (68.275,-3.245), layer=8, texttype=25))
vco_core_3.add(gdstk.Label('en5', (70.095,-3.215), layer=8, texttype=25))
vco_core_3.add(gdstk.Label('vp', (-16.025,-16.66), layer=8, texttype=25))
vco_core_3.add(gdstk.Label('vp', (-16.92,6.365), layer=8, texttype=25))

lib.write_gds('vco_core_3.gds')
